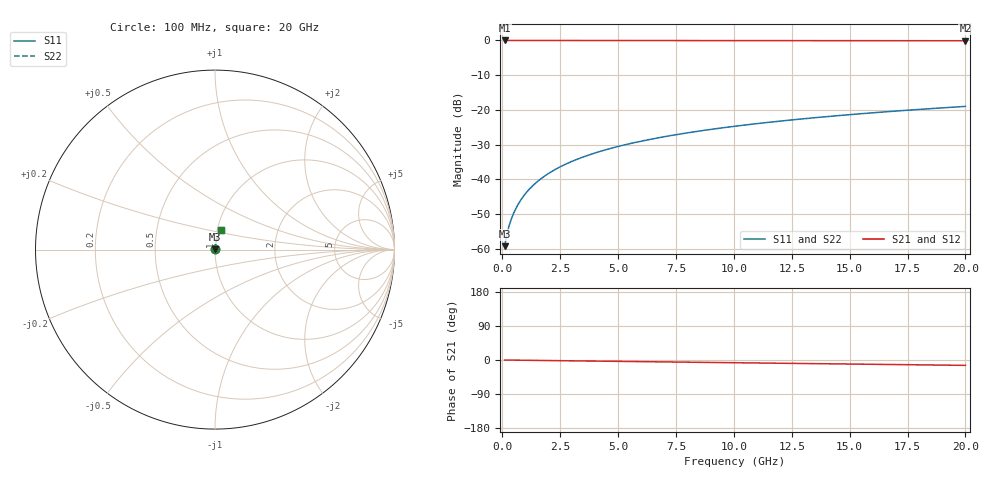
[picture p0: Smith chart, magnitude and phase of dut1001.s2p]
! Touchstone file exported from HFSS 2026.1.0
!  File:  C:/ffzhzh/LocalFiles/Ansys_Project_Files/temp_train_TMRDL_1001_1783159527_51560.aedt
!  Generated:  06:06:37 PM Jul  4, 2026
!  Design:  TMRDL
!  Project:  temp_train_TMRDL_1001_1783159527_51560
! Variables:
!  h_bsmrdl = 2um
!  h_ox = 20um
!  h_rdl = 5um
!  h_sub = 80um
!  h_tmrdl = 4.32um
!  h_tsv = 80um
!  h_via = 3um
!  l_bsmrdl = 300um
!  l_sub = 595.44um
!  l_tmrdl = 195.44um
!  m_sub = 200um
!  pitch = 42.61um
!  r_tsv = 6um
!  s_tmrdl = 10um
!  w_bsmrdl = 18um
!  w_sub = 500um
!  w_tmrdl = 24.82um
!  x_tsv_center1 = 207.85um
!  x_tsv_center2 = 525.85um
!  x_tsv_center3 = 746.11um
!  x_tsv_center4 = 1064.11um
!  x_tsv_center5 = 1284.37um
!  x_tsv_center6 = 1602.37um
# GHz S MA R 50.000000
! Terminal data exported
! Port[1] = TM_RDL1_1_T1
! Port[2] = TM_RDL1_1_T2
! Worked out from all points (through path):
!   200 points, 100 MHz to 20 GHz, reference 50 ohm
!   highest |S21| = -0.01 dB at 100 MHz (marker M1); lowest = -0.1 dB at 20 GHz (marker M2)
!   group delay of S21, straight-line fit = 1.96 ps
!   lowest |S11| = -59.2 dB at 100 MHz (marker M3), VSWR 1.00, Z = 50.1 + j0.0696 ohm
!   |S11| at or under -10 dB: start of sweep to end of sweep
!   |S22| runs from -59.2 to -19.0 dB; largest |S21 - S12| = 3.1e-15
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0.1  0.001094 39.4  0.9992 -0.1  0.9992 -0.1  0.001094 39.4
! Gamma 0 0 0 0
! Port Impedance 50 0 50 0
0.2  0.001622 55.7  0.9991 -0.2  0.9991 -0.2  0.001622 55.7
0.3  0.002179 63.5  0.999 -0.2  0.999 -0.2  0.002179 63.5
0.4  0.002742 68.2  0.999 -0.3  0.999 -0.3  0.002742 68.2
0.5  0.003311 71.5  0.999 -0.4  0.999 -0.4  0.003311 71.5
0.6  0.003887 73.9  0.9989 -0.4  0.9989 -0.4  0.003887 73.9
0.8  0.005054 77.0  0.9989 -0.6  0.9989 -0.6  0.005054 77.0
1.1  0.006828 79.7  0.9988 -0.8  0.9988 -0.8  0.006828 79.7
1.3  0.008018 80.8  0.9988 -1.0  0.9988 -1.0  0.008018 80.8
1.6  0.009808 81.8  0.9987 -1.2  0.9987 -1.2  0.009808 81.8
2.1  0.01279 82.6  0.9986 -1.5  0.9986 -1.5  0.01279 82.6
2.7  0.01635 83.0  0.9984 -2.0  0.9984 -2.0  0.01635 83.0
3.5  0.02106 83.0  0.9981 -2.5  0.9981 -2.5  0.02106 83.0
4.2  0.02515 82.8  0.9979 -3.1  0.9979 -3.1  0.02515 82.8
5  0.02977 82.5  0.9975 -3.6  0.9975 -3.6  0.02977 82.5
5.9  0.03493 82.0  0.9971 -4.3  0.9971 -4.3  0.03493 82.0
6.8  0.04004 81.6  0.9967 -4.9  0.9967 -4.9  0.04004 81.6
8.3  0.04849 80.7  0.996 -6.0  0.996 -6.0  0.04849 80.7
10.1  0.05853 79.7  0.9952 -7.2  0.9952 -7.2  0.05853 79.7
13.4  0.07674 77.7  0.9934 -9.6  0.9934 -9.6  0.07674 77.7
16.7  0.0947 75.7  0.9914 -11.9  0.9914 -11.9  0.0947 75.7
20  0.1124 73.6  0.9892 -14.2  0.9892 -14.2  0.1124 73.6
